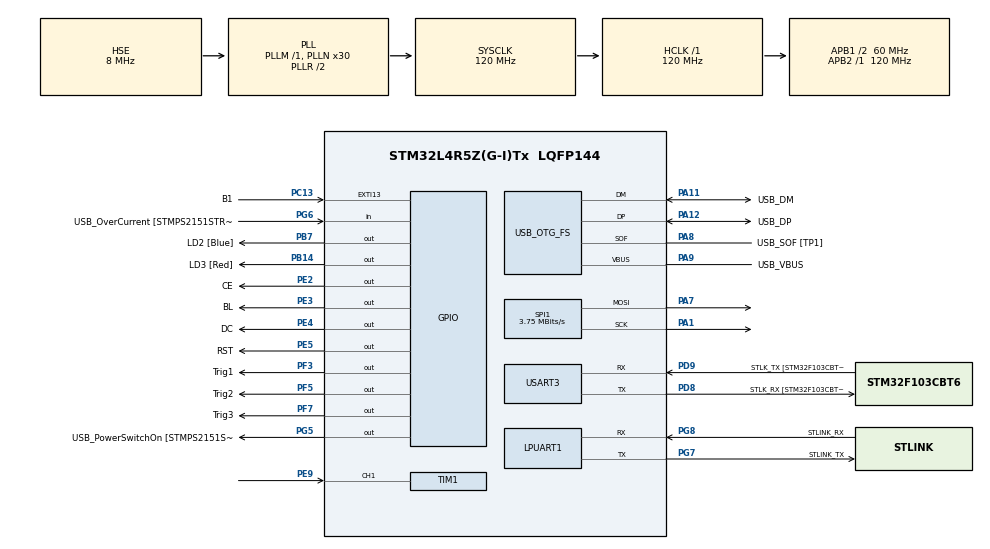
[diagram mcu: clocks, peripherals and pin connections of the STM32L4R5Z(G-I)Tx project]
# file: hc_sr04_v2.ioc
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FREERTOS.Tasks01=HCSR04_first,24,128,hcsr04_1,Default,NULL,Dynamic,NULL,NULL;HCSR04_second,24,128,hcsr04_2,Default,NULL,Dynamic,NULL,NULL;HCSR04_fthird,24,128,hcsr04_3,Default,NULL,Dynamic,NULL,NULL;LCD_buzzer,24,128,lcd_buzz,Default,NULL,Dynamic,NULL,NULL
Mcu.Family=STM32L4
Mcu.Name=STM32L4R5Z(G-I)Tx
Mcu.Package=LQFP144
NVIC.PriorityGroup=NVIC_PRIORITYGROUP_4
NVIC.TIM1_CC_IRQn=true\:0\:0\:false\:false\:true\:true\:true\:true
NVIC.TIM6_DAC_IRQn=true\:0\:0\:false\:false\:true\:false\:false\:true
NVIC.TimeBase=TIM6_DAC_IRQn
NVIC.TimeBaseIP=TIM6
PA1.Mode=TX_Only_Simplex_Unidirect_Master
PA1.Signal=SPI1_SCK
PA10.GPIO_Label=USB_ID
PA10.Signal=USB_OTG_FS_ID
PA11.GPIO_Label=USB_DM
PA11.Mode=Device_Only
PA11.Signal=USB_OTG_FS_DM
PA12.GPIO_Label=USB_DP
PA12.Mode=Device_Only
PA12.Signal=USB_OTG_FS_DP
PA13\ (JTMS/SWDIO).GPIO_Label=TMS
PA13\ (JTMS/SWDIO).Mode=Trace_Asynchronous_SW
PA13\ (JTMS/SWDIO).Signal=SYS_JTMS-SWDIO
PA14\ (JTCK/SWCLK).GPIO_Label=TCK
PA14\ (JTCK/SWCLK).Mode=Trace_Asynchronous_SW
PA14\ (JTCK/SWCLK).Signal=SYS_JTCK-SWCLK
PA7.Mode=TX_Only_Simplex_Unidirect_Master
PA7.Signal=SPI1_MOSI
PA8.GPIO_Label=USB_SOF [TP1]
PA8.Mode=Activate_SOF_FS
PA8.Signal=USB_OTG_FS_SOF
PA9.GPIO_Label=USB_VBUS
PA9.Mode=Activate_VBUS
PA9.Signal=USB_OTG_FS_VBUS
PB14.GPIO_Label=LD3 [Red]
PB14.Signal=GPIO_Output
PB3\ (JTDO/TRACESWO).GPIO_Label=SWO
PB3\ (JTDO/TRACESWO).Mode=Trace_Asynchronous_SW
PB3\ (JTDO/TRACESWO).Signal=SYS_JTDO-SWO
PB7.GPIO_Label=LD2 [Blue]
PB7.Signal=GPIO_Output
PC13.GPIO_Label=B1
PC13.Signal=GPXTI13
PC14-OSC32_IN\ (PC14).Mode=LSE-External-Oscillator
PC14-OSC32_IN\ (PC14).Signal=RCC_OSC32_IN
PC15-OSC32_OUT\ (PC15).Mode=LSE-External-Oscillator
PC15-OSC32_OUT\ (PC15).Signal=RCC_OSC32_OUT
PD8.GPIO_Label=STLK_RX [STM32F103CBT6_PA3]
PD8.Mode=Asynchronous
PD8.Signal=USART3_TX
PD9.GPIO_Label=STLK_TX [STM32F103CBT6_PA2]
PD9.Mode=Asynchronous
PD9.Signal=USART3_RX
PE2.GPIO_Label=CE
PE2.Signal=GPIO_Output
PE3.GPIO_Label=BL
PE3.Signal=GPIO_Output
PE4.GPIO_Label=DC
PE4.Signal=GPIO_Output
PE5.GPIO_Label=RST
PE5.Signal=GPIO_Output
PE9.Signal=S_TIM1_CH1
PF3.GPIO_Label=Trig1
PF3.Signal=GPIO_Output
PF5.GPIO_Label=Trig2
PF5.Signal=GPIO_Output
PF7.GPIO_Label=Trig3
PF7.Signal=GPIO_Output
PG5.GPIO_Label=USB_PowerSwitchOn [STMPS2151STR_EN]
PG5.Signal=GPIO_Output
PG6.GPIO_Label=USB_OverCurrent [STMPS2151STR_FAULT]
PG6.Signal=GPIO_Input
PG7.GPIO_Label=STLINK_TX
PG7.Mode=Asynchronous
PG7.Signal=LPUART1_TX
PG8.GPIO_Label=STLINK_RX
PG8.Mode=Asynchronous
PG8.Signal=LPUART1_RX
PH0-OSC_IN\ (PH0).Mode=HSE-External-Clock-Source
PH0-OSC_IN\ (PH0).Signal=RCC_OSC_IN
PH1-OSC_OUT\ (PH1).Signal=RCC_OSC_OUT
ProjectManager.HeapSize=0x200
ProjectManager.StackSize=0x400
ProjectManager.TargetToolchain=STM32CubeIDE
RCC.48MHZClocksFreq_Value=24000000
RCC.ADCFreq_Value=48000000
RCC.AHBFreq_Value=120000000
RCC.APB1CLKDivider=RCC_HCLK_DIV2
RCC.APB1Freq_Value=60000000
RCC.APB1TimFreq_Value=120000000
RCC.APB2Freq_Value=120000000
RCC.APB2TimFreq_Value=120000000
RCC.CortexFreq_Value=120000000
RCC.HCLKFreq_Value=120000000
RCC.HSE_VALUE=8000000
RCC.HSI48_VALUE=48000000
RCC.HSI_VALUE=16000000
RCC.MSI_VALUE=4000000
RCC.PLLMUL=RCC_PLL_MUL9
RCC.PLLN=30
RCC.PLLSAI1N=12
RCC.PLLSourceVirtual=RCC_PLLSOURCE_HSE
RCC.PRESCALERUSB=RCC_USBCLKSOURCE_PLL_DIV1_5
RCC.SYSCLKFreq_VALUE=120000000
RCC.SYSCLKSource=RCC_SYSCLKSOURCE_PLLCLK
RCC.SYSCLKSourceVirtual=RCC_SYSCLKSOURCE_PLLCLK
RCC.USBFreq_Value=48000000
RCC.VCOOutputFreq_Value=240000000
SH.S_TIM1_CH1.0=TIM1_CH1,Input_Capture1_from_TI1
SPI1.BaudRatePrescaler=SPI_BAUDRATEPRESCALER_32
SPI1.CalculateBaudRate=3.75 MBits/s
SPI1.DataSize=SPI_DATASIZE_8BIT
SPI1.Direction=SPI_DIRECTION_2LINES
SPI1.Mode=SPI_MODE_MASTER
SPI1.VirtualType=VM_MASTER
TIM1.Channel-Input_Capture1_from_TI1=TIM_CHANNEL_1
TIM1.Period=0xffff-1
TIM1.Prescaler=120-1
USART3.VirtualMode-Asynchronous=VM_ASYNC
USB_OTG_FS.VirtualMode=Device_Only
VP_FREERTOS_VS_CMSIS_V2.Mode=CMSIS_V2
VP_SYS_VS_tim6.Mode=TIM6
board=NUCLEO-L4R5ZI

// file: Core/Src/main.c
/* USER CODE BEGIN Header */
/**
  ******************************************************************************
  * @file           : main.c
  * @brief          : Main program body
  ******************************************************************************
  * @attention
  *
  * <h2><center>&copy; Copyright (c) 2021 STMicroelectronics.
  * All rights reserved.</center></h2>
  *
  * This software component is licensed by ST under BSD 3-Clause license,
  * the "License"; You may not use this file except in compliance with the
  * License. You may obtain a copy of the License at:
  *                        opensource.org/licenses/BSD-3-Clause
  *
  ******************************************************************************
  */
/* USER CODE END Header */
#include "main.h"
#include "cmsis_os.h"

/* USER CODE BEGIN Includes */
#include "hcSensor.h"
#include "lcd.h"
#include <stdio.h>

/* USER CODE END Includes */

/* USER CODE BEGIN PD */
#define RST_GPIO_Port	GPIOE
#define RESET_Pin		GPIO_PIN_5
#define DC_GPIO_Port	GPIOE
#define DCC_Pin			GPIO_PIN_4
#define BL_GPIO_Port	GPIOE
#define BLL_Pin			GPIO_PIN_3
#define CE_GPIO_Port	GPIOE
#define CEE_Pin			GPIO_PIN_2

/* USER CODE END PD */

/* USER CODE BEGIN PM */
struct lcdConf lcd;

uint64_t mesCenter;
uint64_t mesLeft;
uint64_t mesRight;

uint64_t tmp_mesCenter;
uint64_t tmp_mesLeft;
uint64_t tmp_mesRight;

uint8_t begin;

/* USER CODE END PM */

UART_HandleTypeDef hlpuart1;
UART_HandleTypeDef huart1;
UART_HandleTypeDef huart3;

SPI_HandleTypeDef hspi1;

TIM_HandleTypeDef htim1;

PCD_HandleTypeDef hpcd_USB_OTG_FS;

/* Definitions for HCSR04_first */
osThreadId_t HCSR04_firstHandle;
const osThreadAttr_t HCSR04_first_attributes = {
  .name = "HCSR04_first",
  .priority = (osPriority_t) osPriorityNormal,
  .stack_size = 128 * 4
};
/* Definitions for HCSR04_second */
osThreadId_t HCSR04_secondHandle;
const osThreadAttr_t HCSR04_second_attributes = {
  .name = "HCSR04_second",
  .priority = (osPriority_t) osPriorityNormal,
  .stack_size = 128 * 4
};
/* Definitions for HCSR04_fthird */
osThreadId_t HCSR04_fthirdHandle;
const osThreadAttr_t HCSR04_fthird_attributes = {
  .name = "HCSR04_fthird",
  .priority = (osPriority_t) osPriorityNormal,
  .stack_size = 128 * 4
};
/* Definitions for LCD_buzzer */
osThreadId_t LCD_buzzerHandle;
const osThreadAttr_t LCD_buzzer_attributes = {
  .name = "LCD_buzzer",
  .priority = (osPriority_t) osPriorityNormal,
  .stack_size = 128 * 4
};

void SystemClock_Config(void);
static void MX_GPIO_Init(void);
static void MX_LPUART1_UART_Init(void);
static void MX_USART3_UART_Init(void);
static void MX_USB_OTG_FS_PCD_Init(void);
static void MX_TIM1_Init(void);
static void MX_SPI1_Init(void);
void hcsr04_1(void *argument);
void hcsr04_2(void *argument);
void hcsr04_3(void *argument);
void lcd_buzz(void *argument);

/* USER CODE BEGIN PFP */
char uart_buf[100];
int uart_buf_len;

uint8_t row;
uint8_t col;
uint8_t j;
uint8_t lvl;

/* USER CODE END PFP */

int main(void)
{

  /* MCU Configuration--------------------------------------------------------*/

  /* Reset of all peripherals, Initializes the Flash interface and the Systick. */
  HAL_Init();

  /* Configure the system clock */
  SystemClock_Config();

  /* Initialize all configured peripherals */
  MX_GPIO_Init();
  MX_LPUART1_UART_Init();
  MX_USART3_UART_Init();
  MX_USB_OTG_FS_PCD_Init();
  MX_TIM1_Init();
  MX_SPI1_Init();
  /* USER CODE BEGIN 2 */

  HAL_TIM_IC_Start_IT(&htim1, TIM_CHANNEL_1);

  lcd.spi = &hspi1;
  lcd.rst_port = RST_GPIO_Port;
  lcd.rst_pin = RESET_Pin;
  lcd.dc_port = DC_GPIO_Port;
  lcd.dc_pin = DCC_Pin;
  lcd.bl_port = BL_GPIO_Port;
  lcd.bl_pin = BLL_Pin;
  lcd.ce_port = CE_GPIO_Port;
  lcd.ce_pin = CEE_Pin;

  lcdInit(&lcd);

  /* USER CODE END 2 */

  /* Init scheduler */
  osKernelInitialize();

  /* Create the thread(s) */
  /* creation of HCSR04_first */
  HCSR04_firstHandle = osThreadNew(hcsr04_1, NULL, &HCSR04_first_attributes);

  /* creation of HCSR04_second */
  HCSR04_secondHandle = osThreadNew(hcsr04_2, NULL, &HCSR04_second_attributes);

  /* creation of HCSR04_fthird */
  HCSR04_fthirdHandle = osThreadNew(hcsr04_3, NULL, &HCSR04_fthird_attributes);

  /* creation of LCD_buzzer */
  LCD_buzzerHandle = osThreadNew(lcd_buzz, NULL, &LCD_buzzer_attributes);

  /* Start scheduler */
  osKernelStart();

  /* We should never get here as control is now taken by the scheduler */
  /* Infinite loop */
  while (1)
  {

  }
}

void SystemClock_Config(void)
{
  RCC_OscInitTypeDef RCC_OscInitStruct = {0};
  RCC_ClkInitTypeDef RCC_ClkInitStruct = {0};
  RCC_PeriphCLKInitTypeDef PeriphClkInit = {0};

  /** Configure the main internal regulator output voltage
  */
  if (HAL_PWREx_ControlVoltageScaling(PWR_REGULATOR_VOLTAGE_SCALE1_BOOST) != HAL_OK)
  {
    Error_Handler();
  }
  /** Initializes the RCC Oscillators according to the specified parameters
  * in the RCC_OscInitTypeDef structure.
  */
  RCC_OscInitStruct.OscillatorType = RCC_OSCILLATORTYPE_HSE;
  RCC_OscInitStruct.HSEState = RCC_HSE_BYPASS;
  RCC_OscInitStruct.PLL.PLLState = RCC_PLL_ON;
  RCC_OscInitStruct.PLL.PLLSource = RCC_PLLSOURCE_HSE;
  RCC_OscInitStruct.PLL.PLLM = 1;
  RCC_OscInitStruct.PLL.PLLN = 30;
  RCC_OscInitStruct.PLL.PLLP = RCC_PLLP_DIV2;
  RCC_OscInitStruct.PLL.PLLQ = RCC_PLLQ_DIV2;
  RCC_OscInitStruct.PLL.PLLR = RCC_PLLR_DIV2;
  if (HAL_RCC_OscConfig(&RCC_OscInitStruct) != HAL_OK)
  {
    Error_Handler();
  }
  /** Initializes the CPU, AHB and APB buses clocks
  */
  RCC_ClkInitStruct.ClockType = RCC_CLOCKTYPE_HCLK|RCC_CLOCKTYPE_SYSCLK
                              |RCC_CLOCKTYPE_PCLK1|RCC_CLOCKTYPE_PCLK2;
  RCC_ClkInitStruct.SYSCLKSource = RCC_SYSCLKSOURCE_PLLCLK;
  RCC_ClkInitStruct.AHBCLKDivider = RCC_SYSCLK_DIV1;
  RCC_ClkInitStruct.APB1CLKDivider = RCC_HCLK_DIV2;
  RCC_ClkInitStruct.APB2CLKDivider = RCC_HCLK_DIV1;

  if (HAL_RCC_ClockConfig(&RCC_ClkInitStruct, FLASH_LATENCY_5) != HAL_OK)
  {
    Error_Handler();
  }
  PeriphClkInit.PeriphClockSelection = RCC_PERIPHCLK_USART3|RCC_PERIPHCLK_LPUART1
                              |RCC_PERIPHCLK_USB;
  PeriphClkInit.Usart3ClockSelection = RCC_USART3CLKSOURCE_PCLK1;
  PeriphClkInit.Lpuart1ClockSelection = RCC_LPUART1CLKSOURCE_PCLK1;
  PeriphClkInit.UsbClockSelection = RCC_USBCLKSOURCE_PLLSAI1;
  PeriphClkInit.PLLSAI1.PLLSAI1Source = RCC_PLLSOURCE_HSE;
  PeriphClkInit.PLLSAI1.PLLSAI1M = 1;
  PeriphClkInit.PLLSAI1.PLLSAI1N = 12;
  PeriphClkInit.PLLSAI1.PLLSAI1P = RCC_PLLP_DIV2;
  PeriphClkInit.PLLSAI1.PLLSAI1Q = RCC_PLLQ_DIV2;
  PeriphClkInit.PLLSAI1.PLLSAI1R = RCC_PLLR_DIV2;
  PeriphClkInit.PLLSAI1.PLLSAI1ClockOut = RCC_PLLSAI1_48M2CLK;
  if (HAL_RCCEx_PeriphCLKConfig(&PeriphClkInit) != HAL_OK)
  {
    Error_Handler();
  }
}

static void MX_LPUART1_UART_Init(void)
{

  hlpuart1.Instance = LPUART1;
  hlpuart1.Init.BaudRate = 209700;
  hlpuart1.Init.WordLength = UART_WORDLENGTH_7B;
  hlpuart1.Init.StopBits = UART_STOPBITS_1;
  hlpuart1.Init.Parity = UART_PARITY_NONE;
  hlpuart1.Init.Mode = UART_MODE_TX_RX;
  hlpuart1.Init.HwFlowCtl = UART_HWCONTROL_NONE;
  hlpuart1.Init.OneBitSampling = UART_ONE_BIT_SAMPLE_DISABLE;
  hlpuart1.Init.ClockPrescaler = UART_PRESCALER_DIV1;
  hlpuart1.AdvancedInit.AdvFeatureInit = UART_ADVFEATURE_NO_INIT;
  hlpuart1.FifoMode = UART_FIFOMODE_DISABLE;
  if (HAL_UART_Init(&hlpuart1) != HAL_OK)
  {
    Error_Handler();
  }
  if (HAL_UARTEx_SetTxFifoThreshold(&hlpuart1, UART_TXFIFO_THRESHOLD_1_8) != HAL_OK)
  {
    Error_Handler();
  }
  if (HAL_UARTEx_SetRxFifoThreshold(&hlpuart1, UART_RXFIFO_THRESHOLD_1_8) != HAL_OK)
  {
    Error_Handler();
  }
  if (HAL_UARTEx_DisableFifoMode(&huart1) != HAL_OK)
  {
    Error_Handler();
  }

}

static void MX_USART3_UART_Init(void)
{

  huart3.Instance = USART3;
  huart3.Init.BaudRate = 115200;
  huart3.Init.WordLength = UART_WORDLENGTH_8B;
  huart3.Init.StopBits = UART_STOPBITS_1;
  huart3.Init.Parity = UART_PARITY_NONE;
  huart3.Init.Mode = UART_MODE_TX_RX;
  huart3.Init.HwFlowCtl = UART_HWCONTROL_NONE;
  huart3.Init.OverSampling = UART_OVERSAMPLING_16;
  huart3.Init.OneBitSampling = UART_ONE_BIT_SAMPLE_DISABLE;
  huart3.Init.ClockPrescaler = UART_PRESCALER_DIV1;
  huart3.AdvancedInit.AdvFeatureInit = UART_ADVFEATURE_NO_INIT;
  if (HAL_UART_Init(&huart3) != HAL_OK)
  {
    Error_Handler();
  }
  if (HAL_UARTEx_SetTxFifoThreshold(&huart3, UART_TXFIFO_THRESHOLD_1_8) != HAL_OK)
  {
    Error_Handler();
  }
  if (HAL_UARTEx_SetRxFifoThreshold(&huart3, UART_RXFIFO_THRESHOLD_1_8) != HAL_OK)
  {
    Error_Handler();
  }
  if (HAL_UARTEx_DisableFifoMode(&huart3) != HAL_OK)
  {
    Error_Handler();
  }

}

static void MX_SPI1_Init(void)
{

  /* SPI1 parameter configuration*/
  hspi1.Instance = SPI1;
  hspi1.Init.Mode = SPI_MODE_MASTER;
  hspi1.Init.Direction = SPI_DIRECTION_2LINES;
  hspi1.Init.DataSize = SPI_DATASIZE_8BIT;
  hspi1.Init.CLKPolarity = SPI_POLARITY_LOW;
  hspi1.Init.CLKPhase = SPI_PHASE_1EDGE;
  hspi1.Init.NSS = SPI_NSS_SOFT;
  hspi1.Init.BaudRatePrescaler = SPI_BAUDRATEPRESCALER_32;
  hspi1.Init.FirstBit = SPI_FIRSTBIT_MSB;
  hspi1.Init.TIMode = SPI_TIMODE_DISABLE;
  hspi1.Init.CRCCalculation = SPI_CRCCALCULATION_DISABLE;
  hspi1.Init.CRCPolynomial = 7;
  hspi1.Init.CRCLength = SPI_CRC_LENGTH_DATASIZE;
  hspi1.Init.NSSPMode = SPI_NSS_PULSE_ENABLE;
  if (HAL_SPI_Init(&hspi1) != HAL_OK)
  {
    Error_Handler();
  }

}

static void MX_TIM1_Init(void)
{

  TIM_MasterConfigTypeDef sMasterConfig = {0};
  TIM_IC_InitTypeDef sConfigIC = {0};

  htim1.Instance = TIM1;
  htim1.Init.Prescaler = 120-1;
  htim1.Init.CounterMode = TIM_COUNTERMODE_UP;
  htim1.Init.Period = 0xffff-1;
  htim1.Init.ClockDivision = TIM_CLOCKDIVISION_DIV1;
  htim1.Init.RepetitionCounter = 0;
  htim1.Init.AutoReloadPreload = TIM_AUTORELOAD_PRELOAD_DISABLE;
  if (HAL_TIM_IC_Init(&htim1) != HAL_OK)
  {
    Error_Handler();
  }
  sMasterConfig.MasterOutputTrigger = TIM_TRGO_RESET;
  sMasterConfig.MasterOutputTrigger2 = TIM_TRGO2_RESET;
  sMasterConfig.MasterSlaveMode = TIM_MASTERSLAVEMODE_DISABLE;
  if (HAL_TIMEx_MasterConfigSynchronization(&htim1, &sMasterConfig) != HAL_OK)
  {
    Error_Handler();
  }
  sConfigIC.ICPolarity = TIM_INPUTCHANNELPOLARITY_RISING;
  sConfigIC.ICSelection = TIM_ICSELECTION_DIRECTTI;
  sConfigIC.ICPrescaler = TIM_ICPSC_DIV1;
  sConfigIC.ICFilter = 0;
  if (HAL_TIM_IC_ConfigChannel(&htim1, &sConfigIC, TIM_CHANNEL_1) != HAL_OK)
  {
    Error_Handler();
  }

}

static void MX_USB_OTG_FS_PCD_Init(void)
{

  hpcd_USB_OTG_FS.Instance = USB_OTG_FS;
  hpcd_USB_OTG_FS.Init.dev_endpoints = 6;
  hpcd_USB_OTG_FS.Init.phy_itface = PCD_PHY_EMBEDDED;
  hpcd_USB_OTG_FS.Init.Sof_enable = ENABLE;
  hpcd_USB_OTG_FS.Init.low_power_enable = DISABLE;
  hpcd_USB_OTG_FS.Init.lpm_enable = DISABLE;
  hpcd_USB_OTG_FS.Init.battery_charging_enable = ENABLE;
  hpcd_USB_OTG_FS.Init.use_dedicated_ep1 = DISABLE;
  hpcd_USB_OTG_FS.Init.vbus_sensing_enable = ENABLE;
  if (HAL_PCD_Init(&hpcd_USB_OTG_FS) != HAL_OK)
  {
    Error_Handler();
  }

}

static void MX_GPIO_Init(void)
{
  GPIO_InitTypeDef GPIO_InitStruct = {0};

  /* GPIO Ports Clock Enable */
  __HAL_RCC_GPIOE_CLK_ENABLE();
  __HAL_RCC_GPIOC_CLK_ENABLE();
  __HAL_RCC_GPIOF_CLK_ENABLE();
  __HAL_RCC_GPIOH_CLK_ENABLE();
  __HAL_RCC_GPIOA_CLK_ENABLE();
  __HAL_RCC_GPIOB_CLK_ENABLE();
  __HAL_RCC_GPIOD_CLK_ENABLE();
  __HAL_RCC_GPIOG_CLK_ENABLE();
  HAL_PWREx_EnableVddIO2();

  /*Configure GPIO pin Output Level */
  HAL_GPIO_WritePin(GPIOE, CE_Pin|BL_Pin|DC_Pin|RST_Pin, GPIO_PIN_RESET);

  /*Configure GPIO pin Output Level */
  HAL_GPIO_WritePin(GPIOF, Trig1_Pin|Trig2_Pin|Trig3_Pin, GPIO_PIN_RESET);

  /*Configure GPIO pin Output Level */
  HAL_GPIO_WritePin(GPIOB, LD3_Pin|LD2_Pin, GPIO_PIN_RESET);

  /*Configure GPIO pin Output Level */
  HAL_GPIO_WritePin(USB_PowerSwitchOn_GPIO_Port, USB_PowerSwitchOn_Pin, GPIO_PIN_RESET);

  /*Configure GPIO pins : CE_Pin BL_Pin DC_Pin RST_Pin */
  GPIO_InitStruct.Pin = CE_Pin|BL_Pin|DC_Pin|RST_Pin;
  GPIO_InitStruct.Mode = GPIO_MODE_OUTPUT_PP;
  GPIO_InitStruct.Pull = GPIO_NOPULL;
  GPIO_InitStruct.Speed = GPIO_SPEED_FREQ_LOW;
  HAL_GPIO_Init(GPIOE, &GPIO_InitStruct);

  /*Configure GPIO pin : B1_Pin */
  GPIO_InitStruct.Pin = B1_Pin;
  GPIO_InitStruct.Mode = GPIO_MODE_IT_RISING;
  GPIO_InitStruct.Pull = GPIO_NOPULL;
  HAL_GPIO_Init(B1_GPIO_Port, &GPIO_InitStruct);

  /*Configure GPIO pins : Trig1_Pin Trig2_Pin Trig3_Pin */
  GPIO_InitStruct.Pin = Trig1_Pin|Trig2_Pin|Trig3_Pin;
  GPIO_InitStruct.Mode = GPIO_MODE_OUTPUT_PP;
  GPIO_InitStruct.Pull = GPIO_NOPULL;
  GPIO_InitStruct.Speed = GPIO_SPEED_FREQ_LOW;
  HAL_GPIO_Init(GPIOF, &GPIO_InitStruct);

  /*Configure GPIO pins : LD3_Pin LD2_Pin */
  GPIO_InitStruct.Pin = LD3_Pin|LD2_Pin;
  GPIO_InitStruct.Mode = GPIO_MODE_OUTPUT_PP;
  GPIO_InitStruct.Pull = GPIO_NOPULL;
  GPIO_InitStruct.Speed = GPIO_SPEED_FREQ_LOW;
  HAL_GPIO_Init(GPIOB, &GPIO_InitStruct);

  /*Configure GPIO pin : USB_PowerSwitchOn_Pin */
  GPIO_InitStruct.Pin = USB_PowerSwitchOn_Pin;
  GPIO_InitStruct.Mode = GPIO_MODE_OUTPUT_PP;
  GPIO_InitStruct.Pull = GPIO_NOPULL;
  GPIO_InitStruct.Speed = GPIO_SPEED_FREQ_LOW;
  HAL_GPIO_Init(USB_PowerSwitchOn_GPIO_Port, &GPIO_InitStruct);

  /*Configure GPIO pin : USB_OverCurrent_Pin */
  GPIO_InitStruct.Pin = USB_OverCurrent_Pin;
  GPIO_InitStruct.Mode = GPIO_MODE_INPUT;
  GPIO_InitStruct.Pull = GPIO_NOPULL;
  HAL_GPIO_Init(USB_OverCurrent_GPIO_Port, &GPIO_InitStruct);

}

void hcsr04_1(void *argument)
{
  /* USER CODE BEGIN 5 */
  /* Infinite loop */
  for(;;)
  {
	HAL_GPIO_TogglePin(GPIOB, GPIO_PIN_7);
	tmp_mesCenter = triggerMeasureCenter();
	if(((mesCenter != 0) && (mesCenter < tmp_mesCenter)) || (mesCenter == 0))
	{
		mesCenter = tmp_mesCenter;
	}
    osDelay(10);
  }
  /* USER CODE END 5 */
}

void hcsr04_2(void *argument)
{
  /* USER CODE BEGIN hcsr04_2 */
  /* Infinite loop */
  for(;;)
  {
	HAL_GPIO_TogglePin(GPIOB, GPIO_PIN_14);
	tmp_mesLeft = triggerMeasureLeft();
	if(((mesLeft != 0) && (mesLeft > tmp_mesLeft)) || (mesLeft == 0))
	{
		mesLeft = tmp_mesLeft;
	}
    osDelay(10);
  }
  /* USER CODE END hcsr04_2 */
}

void hcsr04_3(void *argument)
{
  /* USER CODE BEGIN hcsr04_3 */
  /* Infinite loop */
  for(;;)
  {
	HAL_GPIO_TogglePin(GPIOB, GPIO_PIN_14);
	HAL_GPIO_TogglePin(GPIOB, GPIO_PIN_7);
	tmp_mesRight = triggerMeasureRight();
	if(((mesRight != 0) && (mesRight > tmp_mesRight)) || (mesRight == 0))
	{
		mesRight = tmp_mesRight;
	}
    osDelay(10);
  }
  /* USER CODE END hcsr04_3 */
}

void lcd_buzz(void *argument)
{
  /* USER CODE BEGIN lcd_buzz */
  /* Infinite loop */
  for(;;)
  {
	if(begin == 0)
	{
		lcdWelcome(lcd);
		begin = 1;
		osDelay(4000);
	}

	display_driver(mesLeft, mesCenter, mesRight, lcd);

    mesLeft = 0;
    mesCenter = 0;
    mesRight = 0;
    osDelay(100);
  }
  /* USER CODE END lcd_buzz */
}

void HAL_TIM_PeriodElapsedCallback(TIM_HandleTypeDef *htim)
{
  if (htim->Instance == TIM6) {
    HAL_IncTick();
  }
}

void Error_Handler(void)
{
}

/************************ (C) COPYRIGHT STMicroelectronics *****END OF FILE****/
